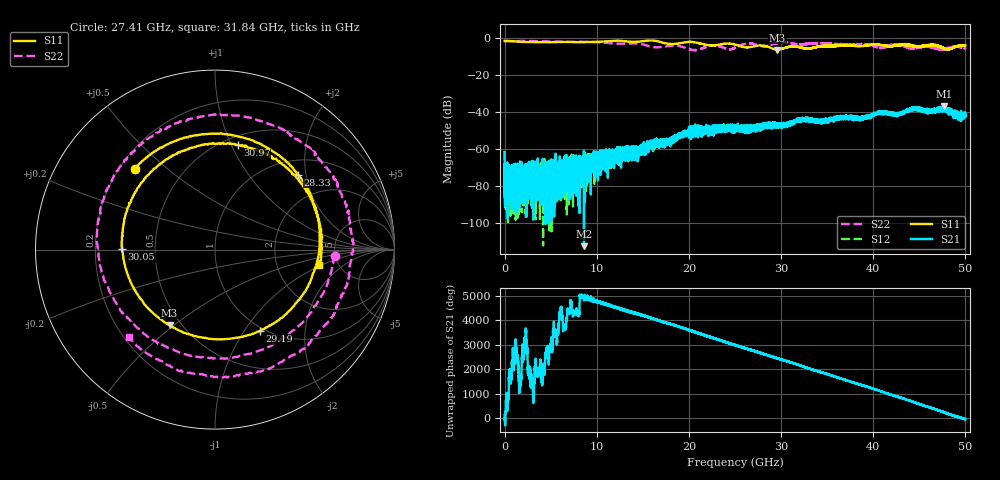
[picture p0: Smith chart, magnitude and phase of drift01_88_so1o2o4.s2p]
!Created with skrf (http://scikit-rf.org).
# Hz S RI R 50.0
!freq ReS11 ImS11 ReS21 ImS21 ReS12 ImS12 ReS22 ImS22
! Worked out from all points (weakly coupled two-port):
!   10001 points, 300 kHz to 50 GHz, reference 50 ohm
!   highest |S21| = -36.78 dB at 47.69 GHz (marker M1); lowest = -112.4 dB at 8.615 GHz (marker M2)
!   lowest |S11| = -6.2 dB at 29.61 GHz (marker M3), VSWR 2.93, Z = 21.7 - j24 ohm
!   |S11| at or under -10 dB: nowhere
!   |S22| runs from -6.4 to -1.4 dB; largest |S21 - S12| = 0.0037
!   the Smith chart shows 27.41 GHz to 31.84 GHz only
!   S11 on the Smith chart (normalised r, x): 27.41 GHz: 0.26, +0.39; 28.33 GHz: 1.32, +1.80; 29.19 GHz: 0.95, -1.18; 30.05 GHz: 0.32, +0.00; 30.97 GHz: 0.58, +1.06; 31.84 GHz: 3.59, -0.96
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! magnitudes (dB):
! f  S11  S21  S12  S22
! 300 kHz  -1.3  -61.5  -61.1  -2.1
! 255.3 MHz  -1.4  -82.5  -76.7  -1.4
! 550.3 MHz  -1.4  -83.6  -85.6  -1.5
! 5.47 GHz  -2.0  -80.5  -71.7  -1.7
! 8.335 GHz  -2.0  -66.8  -71.8  -1.8
! 8.615 GHz  -2.0  -112.4  -67.8  -1.8
! 16.67 GHz  -1.6  -55.8  -54.9  -4.8
! 18.62 GHz  -2.9  -53.6  -55.7  -3.9
! 20.3 GHz  -1.9  -48.7  -49.3  -6.2
! 22.62 GHz  -3.8  -49.4  -50.1  -3.8
! 25 GHz  -3.3  -47.7  -48.7  -5.1
! 27.41 GHz  -4.0  -49.5  -46.5  -3.5
! 28.33 GHz  -4.1  -45.8  -46.6  -4.3
! 29.19 GHz  -5.7  -47.0  -46.3  -3.0
! 29.61 GHz  -6.2  -47.4  -46.8  -2.5
! 30.05 GHz  -5.7  -46.4  -47.1  -2.3
! 30.97 GHz  -4.5  -45.9  -46.0  -2.5
! 31.84 GHz  -4.6  -43.3  -43.8  -3.3
! 33.34 GHz  -5.2  -44.3  -45.1  -2.7
! 41.67 GHz  -4.4  -40.5  -40.0  -4.2
! 47.69 GHz  -5.5  -36.8  -38.2  -6.0
! 50 GHz  -3.8  -41.9  -42.2  -5.2
